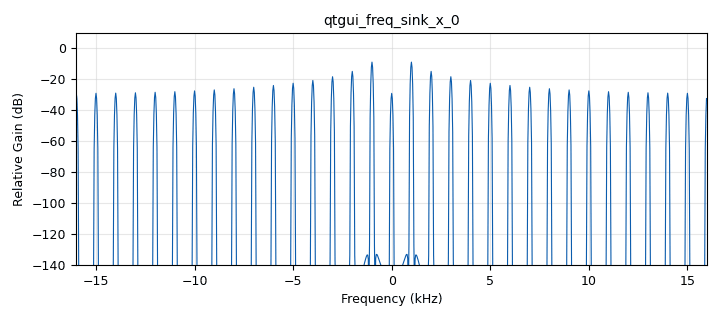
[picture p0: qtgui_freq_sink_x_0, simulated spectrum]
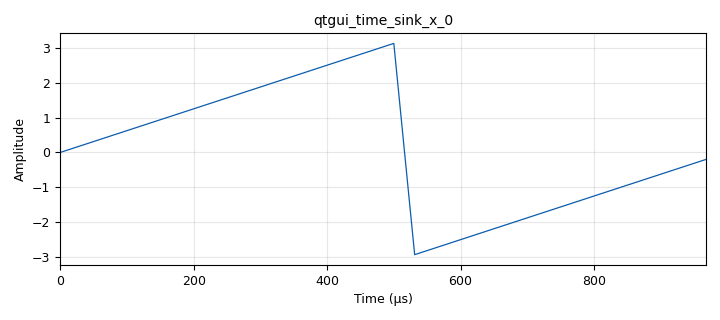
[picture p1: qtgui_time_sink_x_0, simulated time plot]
options:
  parameters:
    generate_options: qt_gui
    id: phas_detec
    output_language: python
    title: Not titled yet
  states: {}

blocks:
- name: samp_rate
  id: variable
  parameters:
    value: '32000'
  states: {}
- name: analog_sig_source_x_0
  id: analog_sig_source_x
  parameters:
    amp: '1'
    freq: '1000'
    offset: '0'
    phase: '0'
    samp_rate: samp_rate
    type: complex
    waveform: analog.GR_COS_WAVE
  states: {}
- name: analog_sig_source_x_0_0
  id: analog_sig_source_x
  parameters:
    amp: '1'
    freq: '1000'
    offset: '0'
    phase: np.pi
    samp_rate: samp_rate
    type: complex
    waveform: analog.GR_CONST_WAVE
  states: {}
- name: epy_block_0
  id: epy_block
  parameters:
    _source_code: |
      from gnuradio import gr
      import numpy as np

      class phase_detector(gr.sync_block):
          def __init__(self):
              gr.sync_block.__init__(
                  self,
                  name="Phase Detector",
                  in_sig=[np.complex64, np.complex64],
                  out_sig=[np.float32]
              )

          def work(self, input_items, output_items):
              x1 = input_items[0]
              x2 = input_items[1]

              phase_diff = np.angle(x1 * np.conj(x2))
              output_items[0][:] = phase_diff.astype(np.float32)
              return len(phase_diff)
  states: {}
- name: import_0
  id: import
  parameters:
    imports: import numpy as np
  states: {}
- name: qtgui_freq_sink_x_0
  id: qtgui_freq_sink_x
  parameters:
    bw: samp_rate
    fc: '0'
    fftsize: '1024'
    type: float
  states: {}
- name: qtgui_time_sink_x_0
  id: qtgui_time_sink_x
  parameters:
    autoscale: 'True'
    size: round(samp_rate/1000)
    srate: samp_rate
    type: float
  states: {}

connections:
- [analog_sig_source_x_0, '0', epy_block_0, '0']
- [analog_sig_source_x_0_0, '0', epy_block_0, '1']
- [epy_block_0, '0', qtgui_freq_sink_x_0, '0']
- [epy_block_0, '0', qtgui_time_sink_x_0, '0']

metadata:
  file_format: 1
  grc_version: 3.10.11.0
